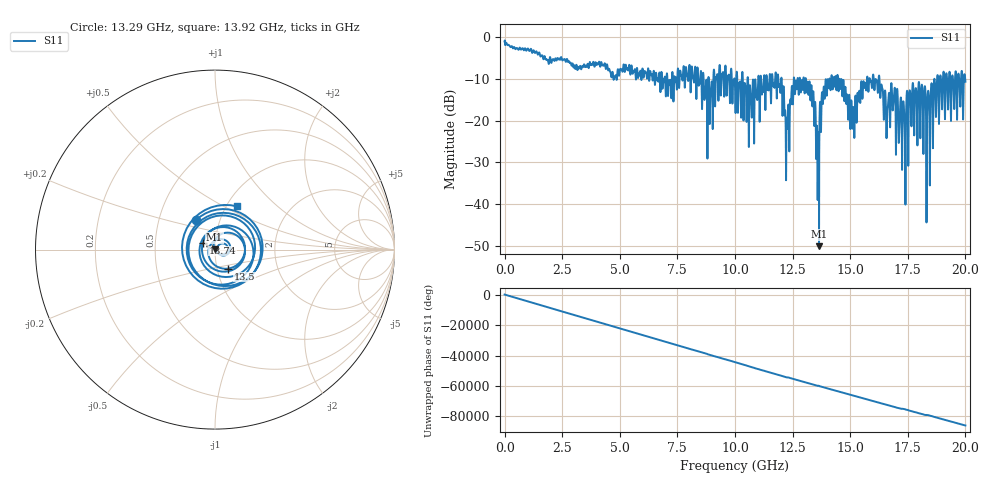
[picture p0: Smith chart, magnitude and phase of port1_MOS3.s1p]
! MS46122B
! 2250307/22442219
! 6/16/2025 12:49:34 PM
! C:\USERS\SPARKY\DOCUMENTS\VNA_DATA\JUNE16_2025\295K\PORT1_MOS3.S1P
! CHANNEL.1
! TR.MEASUREMENT
! RAW.DATA
# GHZ S RI R 50.0
! FREQ.GHZ  S11RE  S11IM
!; PortSelection: Port_1
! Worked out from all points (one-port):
!   10001 points, 1 MHz to 20 GHz, reference 50 ohm
!   lowest |S11| = -50.2 dB at 13.65 GHz (marker M1), VSWR 1.01, Z = 49.7 + j0.143 ohm
!   |S11| at or under -10 dB: 13.07 GHz to 14.1 GHz (1.026 GHz wide, 7.55 % of centre); 14.54 GHz to 15.73 GHz (1.185 GHz wide, 7.83 % of centre); 16.27 GHz to 18.65 GHz (2.379 GHz wide, 13.6 % of centre) (the widest 3 of 74)
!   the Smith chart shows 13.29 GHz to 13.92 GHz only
!   S11 on the Smith chart (normalised r, x): 13.29 GHz: 0.77, +0.26; 13.5 GHz: 1.13, -0.24; 13.74 GHz: 0.87, +0.07; 13.92 GHz: 1.12, +0.58
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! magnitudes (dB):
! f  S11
! 1 MHz  -1.0
! 2.501 GHz  -5.5
! 5.001 GHz  -8.0
! 7.501 GHz  -9.3
! 8.201 GHz  -10.1
! 8.875 GHz  -11.9
! 9.403 GHz  -11.5
! 10 GHz  -11.7
! 10.67 GHz  -13.3
! 11.94 GHz  -11.3
! 12.28 GHz  -21.9
! 12.5 GHz  -14.8
! 13.29 GHz  -14.2
! 13.5 GHz  -17.8
! 13.65 GHz  -50.2
! 13.74 GHz  -22.2
! 13.92 GHz  -11.4
! 14.53 GHz  -10.0
! 15 GHz  -21.1
! 15.92 GHz  -11.1
! 16.54 GHz  -15.0
! 16.86 GHz  -16.5
! 17.33 GHz  -16.3
! 17.5 GHz  -17.2
! 18.05 GHz  -23.5
! 18.39 GHz  -12.8
! 18.72 GHz  -19.1
! 20 GHz  -10.7
